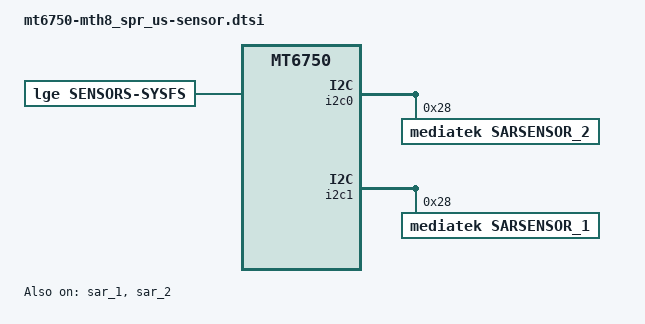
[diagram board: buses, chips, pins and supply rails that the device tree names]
/*
 * LG Electronics TH8 sensor device tree source
 *
 * Copyright (c) 2017 LG Electronics Co., Ltd.
 *              http://www.lge.com
 *
 */

/ {
/*  start sensor */
	/delete-node/ als;
	/delete-node/ gse_1;
	/delete-node/ gyro;
	/delete-node/ mse;

	soc {
		/delete-node/ als_ps@0;
		/delete-node/ barometer@0;
		/delete-node/ gsensor@0;
		/delete-node/ gyroscope@0;
		/delete-node/ msensor@0;
	};

	/*sysfs node for unified usercal*/
	sensors-sysfs {
		compatible = "lge,sensors-sysfs";
		sysfs,node =
			/* group, user_node, kernel node */
			"accelerometer", "run_calibration",  "/sys/bus/platform/drivers/gsensor/run_fast_calibration",
			"accelerometer", "selftest",         "/sys/bus/platform/drivers/gsensor/selftest"
//			"gyroscope",     "run_calibration",  "/sys/bus/platform/drivers/gyroscope/run_fast_calibration",
//			"gyroscope",     "selftest",         "/sys/bus/platform/drivers/gyroscope/selftest",
//			"proximity",     "run_calibration",  "/sys/bus/platform/drivers/als_ps/cali",
//			"proximity",     "calibration_data", "/sys/bus/platform/drivers/als_ps/ps_crosstalk",
			;
	};
/* end sensor */
};

&i2c0 {
	sarsensor_2@28 {
		compatible = "mediatek,sarsensor_2";
		reg = <0x28>;
		status = "okay";
	};
};

&i2c1 {
	/delete-node/ gsensor@40;
	/delete-node/ msensor@0f;

	#include "../bma253.dtsi"
	#include "../akm09916.dtsi"

	sarsensor_1@28 {
		compatible = "mediatek,sarsensor_1";
		reg = <0x28>;
		status = "okay";
	};
};

&pio {
	sarsensor_intpin_default_a: eint@11 {
		pins_cmd_dat {
			pins = <PINMUX_GPIO11__FUNC_GPIO11>;
			slew-rate = <0>;
		};
	};

	sarsensor_intpin_default_b: eint@0 {
		pins_cmd_dat {
			pins = <PINMUX_GPIO0__FUNC_GPIO0>;
			slew-rate = <0>;
		};
	};
};

&sar_1 {
	pinctrl-names = "pin_default_A";
	pinctrl-0 = <&sarsensor_intpin_default_a>;
	interrupt-parent = <&eintc>;
	interrupts = <11 IRQ_TYPE_EDGE_FALLING>;
	debounce = <1 0>;
	status = "okay";
};

&sar_2 {
	pinctrl-names = "pin_default_B";
	pinctrl-0 = <&sarsensor_intpin_default_b>;
	interrupt-parent = <&eintc>;
	interrupts = <0 IRQ_TYPE_EDGE_FALLING>;
	debounce = <1 0>;
	status = "okay";
};
